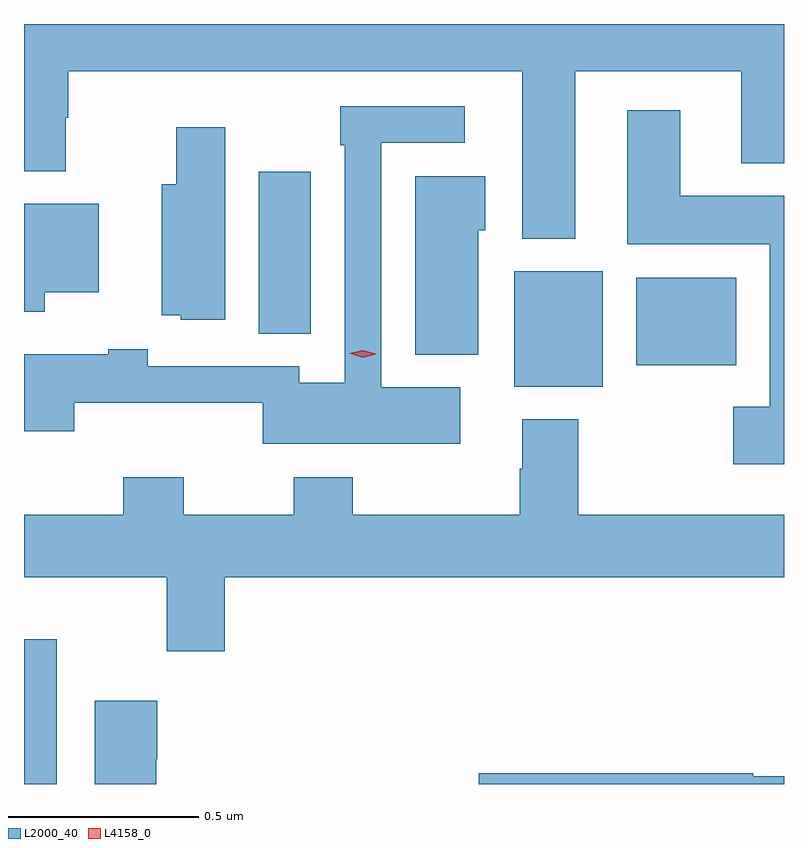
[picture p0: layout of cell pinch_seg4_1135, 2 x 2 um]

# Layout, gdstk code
import gdstk
lib = gdstk.Library(unit=1e-6, precision=1e-09)
def R(c, l, rs):  # rectangles x0, y0, x1, y1
    for r in rs: c.add(gdstk.rectangle(r[:2], r[2:], *l))
def P(c, l, *ps):  # polygons
    for p in ps: c.add(gdstk.Polygon(p, *l))
L2000_40 = (2000, 40)
L4158_0 = (4158, 0)

pinch_seg4_1135 = lib.new_cell('pinch_seg4_1135')
R(pinch_seg4_1135, L2000_40, [(426.692,797.608,426.778,797.989), (427.982,798.653,428.215,798.958), (428.303,798.71,428.566,798.94), (427.31,798.793,427.447,799.219)])
P(pinch_seg4_1135, L2000_40, [(428.143,799.484),(428.579,799.484),(428.579,799.241),(428.692,799.241),(428.692,799.608),(426.692,799.608),(426.692,799.221),(426.802,799.221),(426.802,799.361),(426.809,799.361),(426.809,799.484),(428.003,799.484),(428.003,799.043),(428.143,799.043)],
  [(427.84,798.652),(427.632,798.652),(427.632,799.296),(427.852,799.296),(427.852,799.392),(427.524,799.392),(427.524,799.289),(427.536,799.289),(427.536,798.664),(427.416,798.664),(427.416,798.708),(427.018,798.708),(427.018,798.752),(426.914,798.752),(426.914,798.739),(426.692,798.739),(426.692,798.536),(426.824,798.536),(426.824,798.611),(427.32,798.611),(427.32,798.503),(427.84,798.503)],
  [(428.692,799.156),(428.419,799.156),(428.419,799.381),(428.279,799.381),(428.279,799.028),(428.654,799.028),(428.654,798.601),(428.559,798.601),(428.559,798.449),(428.692,798.449)],
  [(427.222,799.336),(427.093,799.336),(427.093,799.186),(427.055,799.186),(427.055,798.842),(427.104,798.842),(427.104,798.83),(427.222,798.83)],
  [(427.888,799.065),(427.906,799.065),(427.906,799.207),(427.721,799.207),(427.721,798.737),(427.888,798.737)],
  [(426.747,798.902),(426.889,798.902),(426.889,799.135),(426.692,799.135),(426.692,798.851),(426.747,798.851)],
  [(427.22,798.152),(428.692,798.152),(428.692,798.316),(428.151,798.316),(428.151,798.568),(428.003,798.568),(428.003,798.437),(427.996,798.437),(427.996,798.316),(427.557,798.316),(427.557,798.415),(427.402,798.415),(427.402,798.316),(427.113,798.316),(427.113,798.415),(426.953,798.415),(426.953,798.316),(426.692,798.316),(426.692,798.152),(427.067,798.152),(427.067,797.958),(427.22,797.958)],
  [(427.04,797.673),(427.042,797.673),(427.042,797.827),(426.878,797.827),(426.878,797.608),(427.04,797.608)],
  [(428.692,797.629),(428.611,797.629),(428.611,797.636),(427.889,797.636),(427.889,797.608),(428.692,797.608)])
P(pinch_seg4_1135, L4158_0, [(427.583,798.73),(427.548,798.741),(427.548,798.741),(427.548,798.741),(427.583,798.75),(427.618,798.74),(427.618,798.74),(427.618,798.739)])

lib.write_gds('pinch_seg4_1135.gds')
